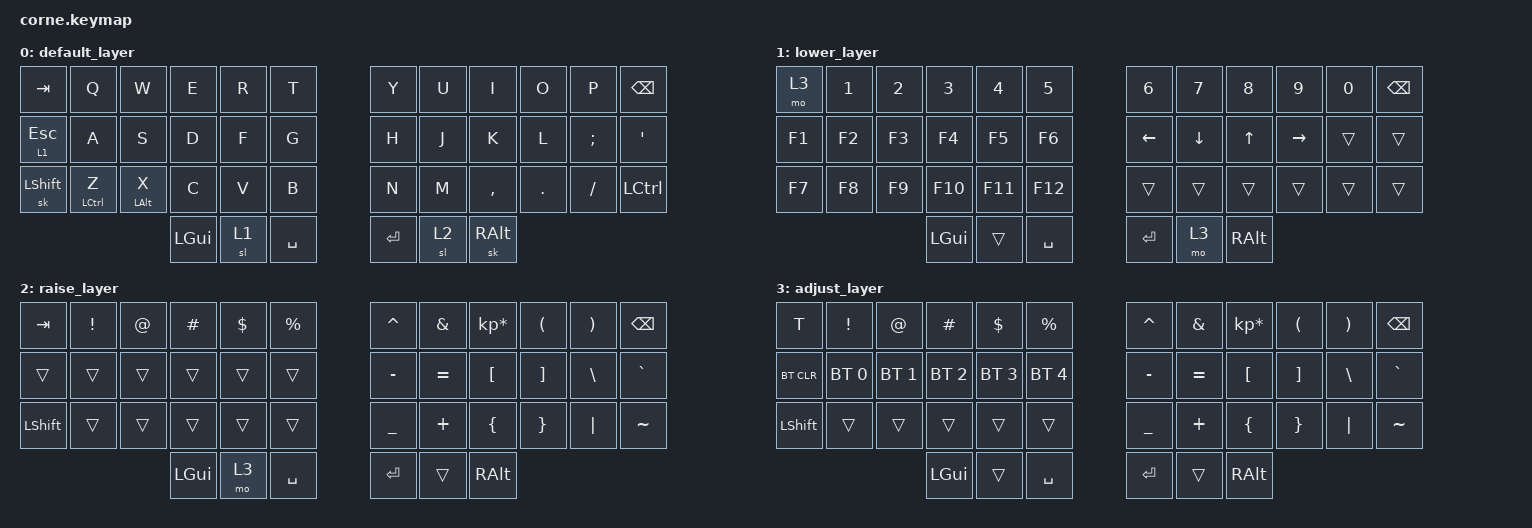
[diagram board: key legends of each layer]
/*
 * Copyright (c) 2020 The ZMK Contributors
 *
 * SPDX-License-Identifier: MIT
 */

#include <behaviors.dtsi>
#include <dt-bindings/zmk/keys.h>
#include <dt-bindings/zmk/bt.h>

&sk {
  quick-release;
};

&mt {
    flavor = "balanced";
};

/ {
        combos {
            compatible = "zmk,combos";
            combo_esc {
                timeout-ms = <30>;
                key-positions = <19 20>;
                bindings = <&kp ESC>;
            };
            combo_paran_l { timeout-ms = <50>; key-positions = <4 5>; bindings = <&kp LPAR>; };
            combo_paran_r { timeout-ms = <50>; key-positions = <6 7>; bindings = <&kp RPAR>; };
            combo_bkt_l { timeout-ms = <50>; key-positions = <16 17>; bindings = <&kp LBKT>; };
            combo_bkt_r { timeout-ms = <50>; key-positions = <18 19>; bindings = <&kp RBKT>; };
            combo_brc_l { timeout-ms = <50>; key-positions = <28 29>; bindings = <&kp LBRC>; };
            combo_brc_r { timeout-ms = <50>; key-positions = <30 31>; bindings = <&kp RBRC>; };
        };
        keymap {
                compatible = "zmk,keymap";

                default_layer {
// -----------------------------------------------------------------------------------------
// |  TAB |  Q  |  W  |  E  |  R  |  T  |   |  Y  |  U   |  I  |  O  |  P  | BKSP |
// | 1/ESC|  A  |  S  |  D  |  F  |  G  |   |  H  |  J   |  K  |  L  |  ;  |  '   |
// | SHFT |Z/CTL|  X  |  C  |  V  |  B  |   |  N  |  M   |  ,  |  .  |  /  | ESC  |
//                    | GUI | LWR | SPC |   | ENT | RSE  | ALT |
                        bindings = <
   &kp TAB   &kp Q &kp W &kp E &kp R &kp T   &kp Y &kp U  &kp I     &kp O   &kp P    &kp BSPC
   &lt 1 ESC &kp A &kp S &kp D &kp F &kp G   &kp H &kp J  &kp K     &kp L   &kp SEMI &kp SQT
   &sk LSHFT &mt LCTRL Z &mt LALT X &kp C &kp V &kp B   &kp N &kp M  &kp COMMA &kp DOT &kp FSLH &kp LCTRL
                  &kp LGUI &sl 1 &kp SPACE   &kp RET &sl 2 &sk RALT
                        >;
                };
                lower_layer {
// -----------------------------------------------------------------------------------------
// |  TAB |  1  |  2  |  3  |  4  |  5  |   |  6  |  7  |  8  |  9  |  0  | BKSP |
// | BTCLR| BT1 | BT2 | BT3 | BT4 | BT5 |   | LFT | DWN |  UP | RGT |     |      |
// | SHFT |     |     |     |     |     |   |     |     |     |     |     |      |
//                    | GUI |     | SPC |   | ENT |     | ALT |
                        bindings = <
   &mo 3      &kp N1    &kp N2    &kp N3    &kp N4    &kp N5    &kp N6   &kp N7   &kp N8 &kp N9    &kp N0 &kp BSPC
   &kp F1     &kp F2    &kp F3    &kp F4    &kp F5    &kp F6    &kp LEFT &kp DOWN &kp UP &kp RIGHT &trans &trans
   &kp F7  &kp F8    &kp F9    &kp F10    &kp F11    &kp F12    &trans   &trans   &trans &trans    &trans &trans
                &kp LGUI     &trans     &kp SPACE      &kp RET  &mo 3   &kp RALT
                        >;
                };

                raise_layer {
// -----------------------------------------------------------------------------------------
// |  TAB |  !  |  @  |  #  |  $  |  %  |   |  ^  |  &  |  *  |  (  |  )  | BKSP |
// | CTRL |     |     |     |     |     |   |  -  |  =  |  [  |  ]  |  \  |  `   |
// | SHFT |     |     |     |     |     |   |  _  |  +  |  {  |  }  | "|" |  ~   |
//                    | GUI |     | SPC |   | ENT |     | ALT |
                        bindings = <
   &kp  TAB  &kp EXCL &kp AT &kp HASH &kp DLLR &kp PRCNT   &kp CARET &kp AMPS  &kp KP_MULTIPLY &kp LPAR &kp RPAR &kp BSPC
   &trans &trans   &trans &trans   &trans   &trans      &kp MINUS &kp EQUAL &kp LBKT        &kp RBKT &kp BSLH &kp GRAVE
   &kp LSHFT &trans   &trans &trans   &trans   &trans      &kp UNDER &kp PLUS  &kp LBRC        &kp RBRC &kp PIPE &kp TILDE
                    	     &kp LGUI   &mo 3    &kp SPACE   &kp RET   &trans    &kp RALT
                        >;
                };

                adjust_layer {
// -----------------------------------------------------------------------------------------
// |  TAB |  !  |  @  |  #  |  $  |  %  |   |  ^  |  &  |  *  |  (  |  )  | BKSP |
// | CTRL |     |     |     |     |     |   |  -  |  =  |  [  |  ]  |  \  |  `   |
// | SHFT |     |     |     |     |     |   |  _  |  +  |  {  |  }  | "|" |  ~   |
//                    | GUI |     | SPC |   | ENT |     | ALT |
                        bindings = <
   &kp  T  &kp EXCL &kp AT &kp HASH &kp DLLR &kp PRCNT   &kp CARET &kp AMPS  &kp KP_MULTIPLY &kp LPAR &kp RPAR &kp BSPC
   &bt BT_CLR &bt BT_SEL 0 &bt BT_SEL 1 &bt BT_SEL 2 &bt BT_SEL 3 &bt BT_SEL 4 &kp MINUS &kp EQUAL &kp LBKT        &kp RBKT &kp BSLH &kp GRAVE
   &kp LSHFT &trans   &trans &trans   &trans   &trans      &kp UNDER &kp PLUS  &kp LBRC        &kp RBRC &kp PIPE &kp TILDE
                    	     &kp LGUI &trans   &kp SPACE   &kp RET   &trans    &kp RALT
                        >;
                };
        };
};
